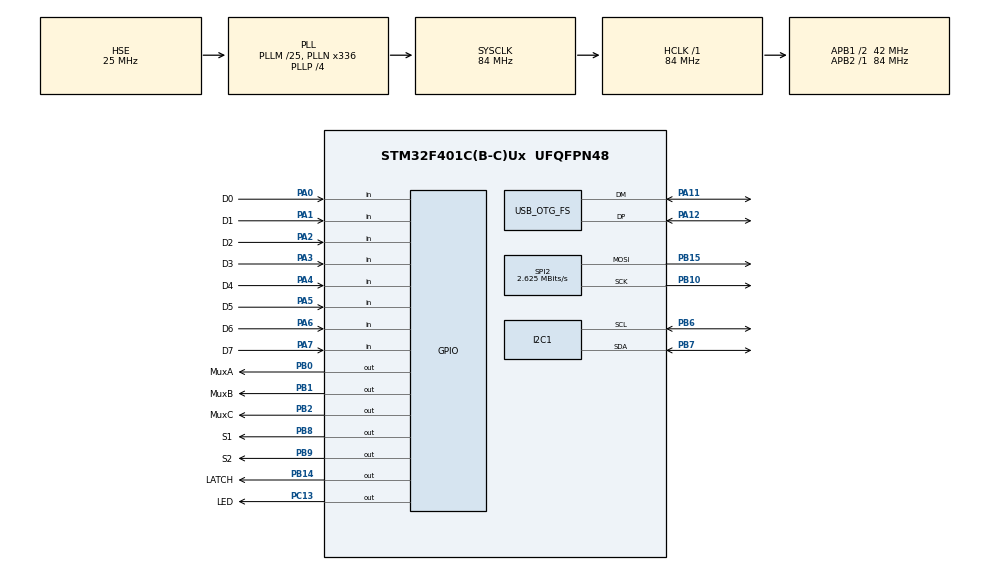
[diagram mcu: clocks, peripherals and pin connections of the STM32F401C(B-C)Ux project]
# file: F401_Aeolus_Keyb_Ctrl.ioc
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Mcu.Family=STM32F4
Mcu.Name=STM32F401C(B-C)Ux
Mcu.Package=UFQFPN48
NVIC.OTG_FS_IRQn=true\:0\:0\:false\:false\:true\:true\:true\:true
NVIC.PriorityGroup=NVIC_PRIORITYGROUP_4
NVIC.TIM2_IRQn=true\:0\:0\:false\:false\:true\:true\:true\:true
PA0-WKUP.GPIO_Label=D0
PA0-WKUP.GPIO_PuPd=GPIO_PULLUP
PA0-WKUP.Signal=GPIO_Input
PA1.GPIO_Label=D1
PA1.GPIO_PuPd=GPIO_PULLUP
PA1.Signal=GPIO_Input
PA11.Mode=Device_Only
PA11.Signal=USB_OTG_FS_DM
PA12.Mode=Device_Only
PA12.Signal=USB_OTG_FS_DP
PA13.Mode=Trace_Asynchronous_SW
PA13.Signal=SYS_JTMS-SWDIO
PA14.Mode=Trace_Asynchronous_SW
PA14.Signal=SYS_JTCK-SWCLK
PA2.GPIO_Label=D2
PA2.GPIO_PuPd=GPIO_PULLUP
PA2.Signal=GPIO_Input
PA3.GPIO_Label=D3
PA3.GPIO_PuPd=GPIO_PULLUP
PA3.Signal=GPIO_Input
PA4.GPIO_Label=D4
PA4.GPIO_PuPd=GPIO_PULLUP
PA4.Signal=GPIO_Input
PA5.GPIO_Label=D5
PA5.GPIO_PuPd=GPIO_PULLUP
PA5.Signal=GPIO_Input
PA6.GPIO_Label=D6
PA6.GPIO_PuPd=GPIO_PULLUP
PA6.Signal=GPIO_Input
PA7.GPIO_Label=D7
PA7.GPIO_PuPd=GPIO_PULLUP
PA7.Signal=GPIO_Input
PB0.GPIO_Label=MuxA
PB0.Signal=GPIO_Output
PB1.GPIO_Label=MuxB
PB1.Signal=GPIO_Output
PB10.Mode=TX_Only_Simplex_Unidirect_Master
PB10.Signal=SPI2_SCK
PB14.GPIO_Label=LATCH
PB14.Signal=GPIO_Output
PB15.Mode=TX_Only_Simplex_Unidirect_Master
PB15.Signal=SPI2_MOSI
PB2.GPIO_Label=MuxC
PB2.Signal=GPIO_Output
PB3.Mode=Trace_Asynchronous_SW
PB3.Signal=SYS_JTDO-SWO
PB6.Mode=I2C
PB6.Signal=I2C1_SCL
PB7.Mode=I2C
PB7.Signal=I2C1_SDA
PB8.GPIO_Label=S1
PB8.Signal=GPIO_Output
PB9.GPIO_Label=S2
PB9.Signal=GPIO_Output
PC13-ANTI_TAMP.GPIO_Label=LED
PC13-ANTI_TAMP.Signal=GPIO_Output
PC14-OSC32_IN.Mode=LSE-External-Oscillator
PC14-OSC32_IN.Signal=RCC_OSC32_IN
PC15-OSC32_OUT.Mode=LSE-External-Oscillator
PC15-OSC32_OUT.Signal=RCC_OSC32_OUT
PH0\ -\ OSC_IN.Mode=HSE-External-Oscillator
PH0\ -\ OSC_IN.Signal=RCC_OSC_IN
PH1\ -\ OSC_OUT.Mode=HSE-External-Oscillator
PH1\ -\ OSC_OUT.Signal=RCC_OSC_OUT
ProjectManager.HeapSize=0x200
ProjectManager.StackSize=0x400
ProjectManager.TargetToolchain=STM32CubeIDE
RCC.48MHZClocksFreq_Value=48000000
RCC.AHBFreq_Value=84000000
RCC.APB1CLKDivider=RCC_HCLK_DIV2
RCC.APB1Freq_Value=42000000
RCC.APB1TimFreq_Value=84000000
RCC.APB2Freq_Value=84000000
RCC.APB2TimFreq_Value=84000000
RCC.CortexFreq_Value=84000000
RCC.HCLKFreq_Value=84000000
RCC.HSE_VALUE=25000000
RCC.HSI_VALUE=16000000
RCC.PLLM=25
RCC.PLLN=336
RCC.PLLP=RCC_PLLP_DIV4
RCC.PLLQ=7
RCC.SYSCLKFreq_VALUE=84000000
RCC.SYSCLKSource=RCC_SYSCLKSOURCE_PLLCLK
RCC.VCOOutputFreq_Value=336000000
SPI2.BaudRatePrescaler=SPI_BAUDRATEPRESCALER_16
SPI2.CalculateBaudRate=2.625 MBits/s
SPI2.Direction=SPI_DIRECTION_2LINES
SPI2.Mode=SPI_MODE_MASTER
SPI2.VirtualType=VM_MASTER
TIM2.Period=1000-1
TIM2.Prescaler=84-1
USB_OTG_FS.VirtualMode=Device_Only
VP_TIM2_VS_ClockSourceINT.Mode=Internal
board=custom

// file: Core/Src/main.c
/* USER CODE BEGIN Header */
/**
  ******************************************************************************
  * @file           : main.c
  * @brief          : Main program body
  ******************************************************************************
  * @attention
  *
  * Copyright (c) 2026 STMicroelectronics.
  * All rights reserved.
  *
  * This software is licensed under terms that can be found in the LICENSE file
  * in the root directory of this software component.
  * If no LICENSE file comes with this software, it is provided AS-IS.
  *
  ******************************************************************************
  */
/* USER CODE END Header */
#include "main.h"

/* USER CODE BEGIN Includes */
//#include "bsp/board_api.h"
#include "tusb.h"
#include "dwtDelay.h"
#include "pcf8574.h"
#include "organ.h"
#include "KeybScan.h"
#include "hc595.h"
/* USER CODE END Includes */

I2C_HandleTypeDef hi2c1;

SPI_HandleTypeDef hspi2;

TIM_HandleTypeDef htim2;

PCD_HandleTypeDef hpcd_USB_OTG_FS;

/* USER CODE BEGIN PV */
uint32_t blink_interval_ms = BLINK_NOT_MOUNTED;
uint32_t LedStatus = 0;
uint32_t PrevLedStatus = 0;
/* USER CODE END PV */

void SystemClock_Config(void);
static void MX_GPIO_Init(void);
static void MX_USB_OTG_FS_PCD_Init(void);
static void MX_I2C1_Init(void);
static void MX_TIM2_Init(void);
static void MX_SPI2_Init(void);

int main(void)
{

  /* MCU Configuration--------------------------------------------------------*/

  /* Reset of all peripherals, Initializes the Flash interface and the Systick. */
  HAL_Init();

  /* Configure the system clock */
  SystemClock_Config();

  /* Initialize all configured peripherals */
  MX_GPIO_Init();
  MX_USB_OTG_FS_PCD_Init();
  MX_I2C1_Init();
  MX_TIM2_Init();
  MX_SPI2_Init();
  /* USER CODE BEGIN 2 */
  DWT_Delay_Init();
  KB_Init();
  key_initialize();	// Registri
  HC595_Init();
  //HC595_Write24(0);

  tusb_rhport_init_t dev_init = {
  		  .role = TUSB_ROLE_DEVICE,
  		  .speed = TUSB_SPEED_FULL
   };

  tusb_init(0, &dev_init);
  HAL_TIM_Base_Start_IT(&htim2);
  /* USER CODE END 2 */

  /* Infinite loop */
  while (1)
  {

    /* USER CODE BEGIN 3 */
    tud_task();
    KB_Task();
    OrganTask();
//    if(PrevLedStatus != LedStatus){
//    	HC595_Write24(LedStatus);
//    	PrevLedStatus = LedStatus;
//    }
  }
  /* USER CODE END 3 */
}

void SystemClock_Config(void)
{
  RCC_OscInitTypeDef RCC_OscInitStruct = {0};
  RCC_ClkInitTypeDef RCC_ClkInitStruct = {0};

  /** Configure the main internal regulator output voltage
  */
  __HAL_RCC_PWR_CLK_ENABLE();
  __HAL_PWR_VOLTAGESCALING_CONFIG(PWR_REGULATOR_VOLTAGE_SCALE2);

  /** Initializes the RCC Oscillators according to the specified parameters
  * in the RCC_OscInitTypeDef structure.
  */
  RCC_OscInitStruct.OscillatorType = RCC_OSCILLATORTYPE_HSE;
  RCC_OscInitStruct.HSEState = RCC_HSE_ON;
  RCC_OscInitStruct.PLL.PLLState = RCC_PLL_ON;
  RCC_OscInitStruct.PLL.PLLSource = RCC_PLLSOURCE_HSE;
  RCC_OscInitStruct.PLL.PLLM = 25;
  RCC_OscInitStruct.PLL.PLLN = 336;
  RCC_OscInitStruct.PLL.PLLP = RCC_PLLP_DIV4;
  RCC_OscInitStruct.PLL.PLLQ = 7;
  if (HAL_RCC_OscConfig(&RCC_OscInitStruct) != HAL_OK)
  {
    Error_Handler();
  }

  /** Initializes the CPU, AHB and APB buses clocks
  */
  RCC_ClkInitStruct.ClockType = RCC_CLOCKTYPE_HCLK|RCC_CLOCKTYPE_SYSCLK
                              |RCC_CLOCKTYPE_PCLK1|RCC_CLOCKTYPE_PCLK2;
  RCC_ClkInitStruct.SYSCLKSource = RCC_SYSCLKSOURCE_PLLCLK;
  RCC_ClkInitStruct.AHBCLKDivider = RCC_SYSCLK_DIV1;
  RCC_ClkInitStruct.APB1CLKDivider = RCC_HCLK_DIV2;
  RCC_ClkInitStruct.APB2CLKDivider = RCC_HCLK_DIV1;

  if (HAL_RCC_ClockConfig(&RCC_ClkInitStruct, FLASH_LATENCY_2) != HAL_OK)
  {
    Error_Handler();
  }
}

static void MX_I2C1_Init(void)
{

  hi2c1.Instance = I2C1;
  hi2c1.Init.ClockSpeed = 100000;
  hi2c1.Init.DutyCycle = I2C_DUTYCYCLE_2;
  hi2c1.Init.OwnAddress1 = 0;
  hi2c1.Init.AddressingMode = I2C_ADDRESSINGMODE_7BIT;
  hi2c1.Init.DualAddressMode = I2C_DUALADDRESS_DISABLE;
  hi2c1.Init.OwnAddress2 = 0;
  hi2c1.Init.GeneralCallMode = I2C_GENERALCALL_DISABLE;
  hi2c1.Init.NoStretchMode = I2C_NOSTRETCH_DISABLE;
  if (HAL_I2C_Init(&hi2c1) != HAL_OK)
  {
    Error_Handler();
  }

}

static void MX_SPI2_Init(void)
{

  /* SPI2 parameter configuration*/
  hspi2.Instance = SPI2;
  hspi2.Init.Mode = SPI_MODE_MASTER;
  hspi2.Init.Direction = SPI_DIRECTION_2LINES;
  hspi2.Init.DataSize = SPI_DATASIZE_8BIT;
  hspi2.Init.CLKPolarity = SPI_POLARITY_LOW;
  hspi2.Init.CLKPhase = SPI_PHASE_1EDGE;
  hspi2.Init.NSS = SPI_NSS_SOFT;
  hspi2.Init.BaudRatePrescaler = SPI_BAUDRATEPRESCALER_16;
  hspi2.Init.FirstBit = SPI_FIRSTBIT_MSB;
  hspi2.Init.TIMode = SPI_TIMODE_DISABLE;
  hspi2.Init.CRCCalculation = SPI_CRCCALCULATION_DISABLE;
  hspi2.Init.CRCPolynomial = 10;
  if (HAL_SPI_Init(&hspi2) != HAL_OK)
  {
    Error_Handler();
  }

}

static void MX_TIM2_Init(void)
{

  TIM_ClockConfigTypeDef sClockSourceConfig = {0};
  TIM_MasterConfigTypeDef sMasterConfig = {0};

  htim2.Instance = TIM2;
  htim2.Init.Prescaler = 84-1;
  htim2.Init.CounterMode = TIM_COUNTERMODE_UP;
  htim2.Init.Period = 1000-1;
  htim2.Init.ClockDivision = TIM_CLOCKDIVISION_DIV1;
  htim2.Init.AutoReloadPreload = TIM_AUTORELOAD_PRELOAD_DISABLE;
  if (HAL_TIM_Base_Init(&htim2) != HAL_OK)
  {
    Error_Handler();
  }
  sClockSourceConfig.ClockSource = TIM_CLOCKSOURCE_INTERNAL;
  if (HAL_TIM_ConfigClockSource(&htim2, &sClockSourceConfig) != HAL_OK)
  {
    Error_Handler();
  }
  sMasterConfig.MasterOutputTrigger = TIM_TRGO_RESET;
  sMasterConfig.MasterSlaveMode = TIM_MASTERSLAVEMODE_DISABLE;
  if (HAL_TIMEx_MasterConfigSynchronization(&htim2, &sMasterConfig) != HAL_OK)
  {
    Error_Handler();
  }

}

static void MX_USB_OTG_FS_PCD_Init(void)
{

  hpcd_USB_OTG_FS.Instance = USB_OTG_FS;
  hpcd_USB_OTG_FS.Init.dev_endpoints = 4;
  hpcd_USB_OTG_FS.Init.speed = PCD_SPEED_FULL;
  hpcd_USB_OTG_FS.Init.dma_enable = DISABLE;
  hpcd_USB_OTG_FS.Init.phy_itface = PCD_PHY_EMBEDDED;
  hpcd_USB_OTG_FS.Init.Sof_enable = DISABLE;
  hpcd_USB_OTG_FS.Init.low_power_enable = DISABLE;
  hpcd_USB_OTG_FS.Init.lpm_enable = DISABLE;
  hpcd_USB_OTG_FS.Init.vbus_sensing_enable = DISABLE;
  hpcd_USB_OTG_FS.Init.use_dedicated_ep1 = DISABLE;
  if (HAL_PCD_Init(&hpcd_USB_OTG_FS) != HAL_OK)
  {
    Error_Handler();
  }

}

static void MX_GPIO_Init(void)
{
  GPIO_InitTypeDef GPIO_InitStruct = {0};

  /* GPIO Ports Clock Enable */
  __HAL_RCC_GPIOC_CLK_ENABLE();
  __HAL_RCC_GPIOH_CLK_ENABLE();
  __HAL_RCC_GPIOA_CLK_ENABLE();
  __HAL_RCC_GPIOB_CLK_ENABLE();

  /*Configure GPIO pin Output Level */
  HAL_GPIO_WritePin(LED_GPIO_Port, LED_Pin, GPIO_PIN_RESET);

  /*Configure GPIO pin Output Level */
  HAL_GPIO_WritePin(GPIOB, MuxA_Pin|MuxB_Pin|MuxC_Pin|LATCH_Pin
                          |S1_Pin|S2_Pin, GPIO_PIN_RESET);

  /*Configure GPIO pin : LED_Pin */
  GPIO_InitStruct.Pin = LED_Pin;
  GPIO_InitStruct.Mode = GPIO_MODE_OUTPUT_PP;
  GPIO_InitStruct.Pull = GPIO_NOPULL;
  GPIO_InitStruct.Speed = GPIO_SPEED_FREQ_LOW;
  HAL_GPIO_Init(LED_GPIO_Port, &GPIO_InitStruct);

  /*Configure GPIO pins : D0_Pin D1_Pin D2_Pin D3_Pin
                           D4_Pin D5_Pin D6_Pin D7_Pin */
  GPIO_InitStruct.Pin = D0_Pin|D1_Pin|D2_Pin|D3_Pin
                          |D4_Pin|D5_Pin|D6_Pin|D7_Pin;
  GPIO_InitStruct.Mode = GPIO_MODE_INPUT;
  GPIO_InitStruct.Pull = GPIO_PULLUP;
  HAL_GPIO_Init(GPIOA, &GPIO_InitStruct);

  /*Configure GPIO pins : MuxA_Pin MuxB_Pin MuxC_Pin LATCH_Pin
                           S1_Pin S2_Pin */
  GPIO_InitStruct.Pin = MuxA_Pin|MuxB_Pin|MuxC_Pin|LATCH_Pin
                          |S1_Pin|S2_Pin;
  GPIO_InitStruct.Mode = GPIO_MODE_OUTPUT_PP;
  GPIO_InitStruct.Pull = GPIO_NOPULL;
  GPIO_InitStruct.Speed = GPIO_SPEED_FREQ_LOW;
  HAL_GPIO_Init(GPIOB, &GPIO_InitStruct);

}

/* USER CODE BEGIN 4 */
void HAL_TIM_PeriodElapsedCallback(TIM_HandleTypeDef *htim)
{
  static uint8_t	prescaler = 0;
  static uint16_t   blink = 0;

  if (htim->Instance == TIM2) {
	  if ( ++prescaler == 50 ) {
		    keypad_task();
	        prescaler = 0;
	    }

	  if ( ++blink == blink_interval_ms) {
		  HAL_GPIO_TogglePin(LED_GPIO_Port, LED_Pin);
		  blink = 0;
	  }
	}
}
/* USER CODE END 4 */

void Error_Handler(void)
{
  __disable_irq();
  while (1)
  {
  }
}
